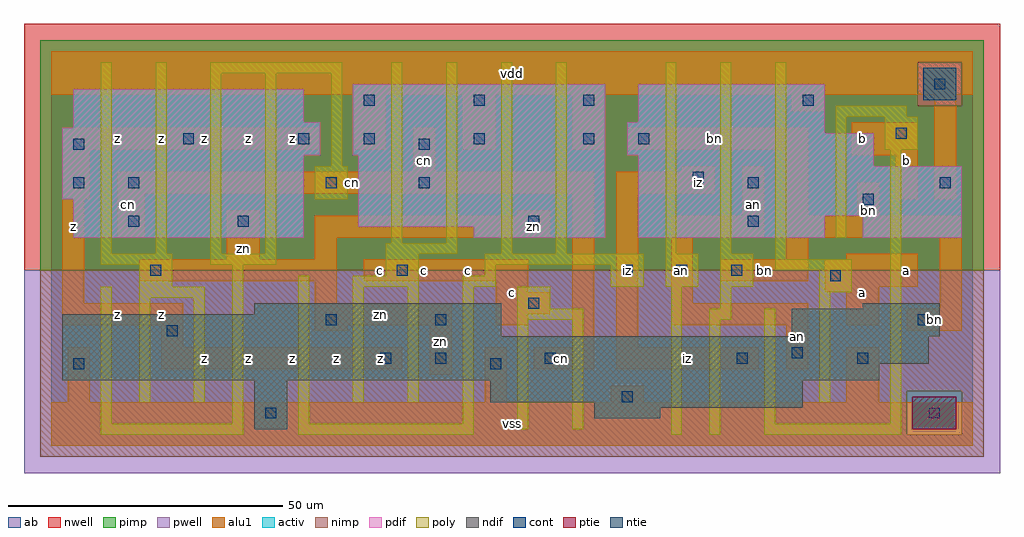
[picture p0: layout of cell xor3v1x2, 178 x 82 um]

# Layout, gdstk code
import gdstk
lib = gdstk.Library(unit=1e-6, precision=1e-09)
def R(c, l, rs):  # rectangles x0, y0, x1, y1
    for r in rs: c.add(gdstk.rectangle(r[:2], r[2:], *l))
def A(c, l, x, y, w, h, nx, ny, dx, dy):  # array of equal rectangles
    R(c, l, [(x+i*dx, y+j*dy, x+i*dx+w, y+j*dy+h) for i in range(nx) for j in range(ny)])
ndif = (3, 0)
pdif = (4, 0)
ntie = (5, 0)
ptie = (6, 0)
cont = (25, 0)
pwell = (41, 0)
nwell = (42, 0)
activ = (43, 0)
pimp = (44, 0)
nimp = (45, 0)
poly = (46, 0)
alu1 = (49, 0)
ab = (63, 0)

xor3v1x2 = lib.new_cell('xor3v1x2')
R(xor3v1x2, ndif, [(37,3,43,12), (99,5,111,7), (99,7,137,8), (80,8,137,12), (2,12,151,15), (2,15,160,20), (2,20,82,24), (135,20,162,25), (37,24,82,26), (148,25,162,26)])
R(xor3v1x2, pdif, [(4,38,46,45), (77,38,101,40), (107,38,141,42), (148,38,166,42), (56,40,101,53), (107,42,166,51), (2,45,46,53), (107,51,150,53), (2,53,49,58), (55,53,101,66), (105,53,150,57), (105,57,141,59), (4,58,49,59), (4,59,46,65), (107,59,141,66)])
R(xor3v1x2, ntie, [(159,63,165,69)])
R(xor3v1x2, ptie, [(157,3,165,9)])
A(xor3v1x2, cont, 104, 31, 2, 2, 3, 1, 10, 0)
A(xor3v1x2, cont, 57, 55, 2, 2, 3, 2, 20, 7)
R(xor3v1x2, cont, [(39,5,41,7), (160,5,162,7), (104,8,106,10), (4,14,6,16), (80,14,82,16), (60,15,62,17), (70,15,72,17), (90,15,92,17), (125,15,127,17), (147,15,149,17), (135,16,137,18), (21,20,23,22), (50,22,52,24), (70,22,72,24), (158,22,160,24), (87,25,89,27), (142,30,144,32), (18,31,20,33), (63,31,65,33), (14,40,16,42), (34,40,36,42), (87,40,89,42), (127,40,129,42), (148,44,150,46), (4,47,6,49), (14,47,16,49), (50,47,52,49), (67,47,69,49), (127,47,129,49), (162,47,164,49), (117,48,119,50), (4,54,6,56), (67,54,69,56), (24,55,26,57), (45,55,47,57), (107,55,109,57), (154,56,156,58), (137,62,139,64), (161,65,163,67)])
R(xor3v1x2, pwell, [(-5,-5,173,32)])
R(xor3v1x2, nwell, [(-5,32,173,77)])
R(xor3v1x2, activ, [(37,3,43,12), (157,3,165,9), (99,5,111,7), (99,7,137,8), (80,8,137,12), (2,12,151,15), (2,15,160,20), (2,20,82,24), (135,20,162,25), (37,24,82,26), (148,25,162,26), (4,38,46,45), (77,38,101,40), (107,38,141,42), (148,38,166,42), (56,40,101,53), (107,42,166,51), (2,45,46,53), (107,51,150,53), (2,53,49,58), (55,53,101,66), (105,53,150,57), (105,57,141,59), (4,58,49,59), (4,59,46,65), (107,59,141,66), (159,63,165,69)])
R(xor3v1x2, pimp, [(156,2,166,10), (-2,32,170,62), (-2,62,158,70), (166,62,170,70), (-2,70,170,74)])
R(xor3v1x2, nimp, [(-2,-2,170,2), (-2,2,156,10), (166,2,170,10), (-2,10,170,32), (158,62,166,70)])
R(xor3v1x2, poly, [(9,2,35,4), (45,2,77,4), (113,2,115,29), (120,2,122,23), (130,2,155,4), (85,3,87,23), (95,3,97,23), (9,4,11,29), (33,4,35,33), (45,4,47,31), (75,4,77,29), (130,4,132,25), (153,4,155,54), (16,8,18,27), (26,8,28,27), (55,8,57,29), (65,8,67,29), (140,8,142,28), (85,23,97,25), (120,23,124,25), (85,25,91,29), (122,25,124,29), (16,27,28,29), (140,28,146,32), (16,29,22,33), (55,29,67,31), (75,29,81,31), (102,29,108,33), (112,29,118,35), (122,29,128,35), (61,31,67,35), (79,31,81,33), (132,32,146,34), (9,33,22,35), (29,33,41,35), (79,33,108,35), (132,34,134,70), (9,35,11,70), (19,35,21,70), (29,35,31,68), (39,35,41,68), (61,35,74,37), (82,35,84,70), (92,35,94,70), (112,35,114,70), (122,35,124,70), (62,37,64,70), (72,37,74,70), (143,38,145,60), (48,45,54,51), (51,51,53,68), (152,54,158,60), (143,60,156,62), (29,68,53,70)])
A(xor3v1x2, alu1, 55, 54, 6, 10, 3, 1, 20, 0)
R(xor3v1x2, alu1, [(0,0,168,8), (3,8,7,18), (79,8,83,18), (102,8,108,11), (145,8,151,18), (69,13,73,22), (20,14,64,18), (88,14,99,18), (103,14,129,18), (134,14,138,22), (20,18,24,22), (95,18,99,46), (103,18,107,46), (48,21,54,22), (156,21,166,25), (2,22,24,26), (48,22,73,26), (81,22,87,24), (113,22,138,26), (145,22,151,28), (81,24,91,28), (162,25,166,38), (2,26,6,45), (48,26,52,30), (113,26,117,38), (81,28,87,30), (141,28,151,29), (141,29,158,34), (16,30,52,34), (57,30,87,34), (122,30,138,34), (32,34,38,43), (48,34,52,38), (134,34,138,38), (145,34,158,35), (12,38,17,46), (48,38,91,42), (113,38,130,42), (134,38,166,42), (85,42,91,43), (126,42,130,51), (134,42,138,54), (147,42,151,48), (2,45,7,54), (154,45,158,53), (161,45,165,64), (12,46,99,50), (103,46,121,50), (66,50,70,58), (115,50,121,51), (146,53,158,59), (2,54,49,58), (105,54,138,58), (135,61,141,64), (0,64,168,72)])
R(xor3v1x2, ab, [(0,0,168,72)])
xor3v1x2.add(gdstk.Label('zn', (35,36), layer=49, texttype=0))
xor3v1x2.add(gdstk.Label('cn', (14,44), layer=49, texttype=0))
xor3v1x2.add(gdstk.Label('zn', (71,19), layer=49, texttype=0))
xor3v1x2.add(gdstk.Label('zn', (60,24), layer=49, texttype=0))
xor3v1x2.add(gdstk.Label('cn', (68,52), layer=49, texttype=0))
xor3v1x2.add(gdstk.Label('cn', (93,16), layer=49, texttype=0))
xor3v1x2.add(gdstk.Label('an', (115,32), layer=49, texttype=0))
xor3v1x2.add(gdstk.Label('zn', (88,40), layer=49, texttype=0))
xor3v1x2.add(gdstk.Label('iz', (105,32), layer=49, texttype=0))
xor3v1x2.add(gdstk.Label('cn', (55,48), layer=49, texttype=0))
xor3v1x2.add(gdstk.Label('iz', (118,48), layer=49, texttype=0))
xor3v1x2.add(gdstk.Label('iz', (116,16), layer=49, texttype=0))
xor3v1x2.add(gdstk.Label('an', (136,20), layer=49, texttype=0))
xor3v1x2.add(gdstk.Label('bn', (130,32), layer=49, texttype=0))
xor3v1x2.add(gdstk.Label('bn', (161,23), layer=49, texttype=0))
xor3v1x2.add(gdstk.Label('bn', (149,43), layer=49, texttype=0))
xor3v1x2.add(gdstk.Label('an', (128,44), layer=49, texttype=0))
xor3v1x2.add(gdstk.Label('bn', (121,56), layer=49, texttype=0))
xor3v1x2.add(gdstk.Label('z', (28,16), layer=49, texttype=0))
xor3v1x2.add(gdstk.Label('z', (36,16), layer=49, texttype=0))
xor3v1x2.add(gdstk.Label('z', (12,24), layer=49, texttype=0))
xor3v1x2.add(gdstk.Label('z', (20,24), layer=49, texttype=0))
xor3v1x2.add(gdstk.Label('z', (4,40), layer=49, texttype=0))
xor3v1x2.add(gdstk.Label('z', (28,56), layer=49, texttype=0))
xor3v1x2.add(gdstk.Label('z', (20,56), layer=49, texttype=0))
xor3v1x2.add(gdstk.Label('z', (12,56), layer=49, texttype=0))
xor3v1x2.add(gdstk.Label('z', (36,56), layer=49, texttype=0))
xor3v1x2.add(gdstk.Label('z', (60,16), layer=49, texttype=0))
xor3v1x2.add(gdstk.Label('z', (52,16), layer=49, texttype=0))
xor3v1x2.add(gdstk.Label('z', (44,16), layer=49, texttype=0))
xor3v1x2.add(gdstk.Label('c', (68,32), layer=49, texttype=0))
xor3v1x2.add(gdstk.Label('c', (76,32), layer=49, texttype=0))
xor3v1x2.add(gdstk.Label('c', (60,32), layer=49, texttype=0))
xor3v1x2.add(gdstk.Label('z', (44,56), layer=49, texttype=0))
xor3v1x2.add(gdstk.Label('vss', (84,4), layer=49, texttype=0))
xor3v1x2.add(gdstk.Label('c', (84,28), layer=49, texttype=0))
xor3v1x2.add(gdstk.Label('vdd', (84,68), layer=49, texttype=0))
xor3v1x2.add(gdstk.Label('a', (148,28), layer=49, texttype=0))
xor3v1x2.add(gdstk.Label('a', (156,32), layer=49, texttype=0))
xor3v1x2.add(gdstk.Label('b', (156,52), layer=49, texttype=0))
xor3v1x2.add(gdstk.Label('b', (148,56), layer=49, texttype=0))

lib.write_gds('xor3v1x2.gds')
